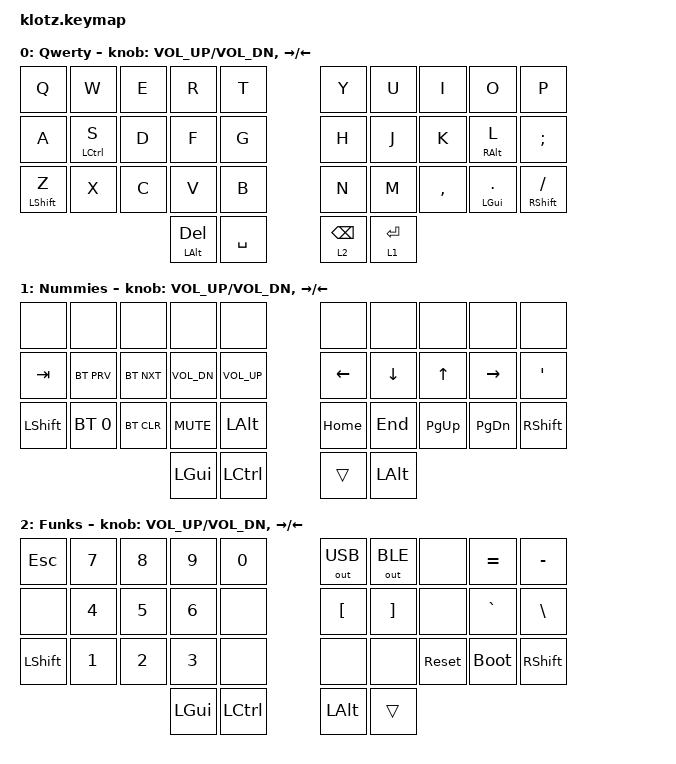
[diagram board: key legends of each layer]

//              █         ██        ▄▀▀▀▀▀▀▀▀▀▀█▀▀▀▀▀▀▀▀█▀▀▀▀▀▀▀▀▀▀█
//              █        █ █      ▄▀            ▀▄      █         █
//              █       █  █    ▄▀                ▀▄    █        █
//              █      █   █   █                    █   █       █
//              █     █    █   █                    █   █      █
//              █    █     █   █                    █   █  ▀▀▀█▀▀▀▀
//              █   █ █    █   █                    █   █    █
//              █  █   █   █   █                    █   █   █
//              █ █     █  █    ▀▄                ▄▀    █  █
//              ██       █ █      ▀▄            ▄▀      █ █
//              █         ██▄▄▄▄▄▄▄▄█▄▄▄▄▄▄▄▄▄▄▀        ██▄▄▄▄▄▄▄▄▄▄
//
//▄▄▄▄▄▄▄▄▄▄▄▄▄▄▄▄▄▄▄▄▄▄▄▄▄▄▄▄▄▄▄▄▄▄▄▄▄▄▄▄▄▄▄▄▄▄▄▄▄▄▄▄▄▄▄▄▄▄▄▄▄▄▄▄▄▄▄▄▄▄▄▄▄▄▄▄▄▄▄};



/* #include "base_5x3T2.h" */
#include <behaviors.dtsi>
#include <dt-bindings/zmk/keys.h>
#include <dt-bindings/zmk/bt.h>
#include <dt-bindings/zmk/outputs.h>

// makes it possible to hold backspace
&mt {
    tapping-term-ms = <200>;
};
&lt {
    quick_tap_ms = <120>;
};

/ {
	keymap {
		compatible = "zmk,keymap";
		
		default {
            label = "Qwerty";
//  _____________________________       _____________________________
// /  Q  |  W     |  E  |  R  |  T  \     /  Y  |  U  |  I  |  O   |  P  \
// |  A  | LCTRl/S|  D  |  F  |  G  | ___ |  H  |  J  |  K  |RALT/L|  ;  |
// |Sft/Z|  X     |  C  |  V  |  B  ||MUT||  N  |  M  |  ,  |LGUI/.|Sft//|
//         \LALT/Bspc|  Ctl/SPC  /     \  Sym/Del  | Num/Ent /
//          ---------------------       --------------------
			bindings = <
            &kp Q       &kp W        &kp E   &kp R   &kp T                   &kp Y   &kp U   &kp I       &kp O        &kp P
            &kp A       &mt LCTRL S  &kp D   &kp F   &kp G                   &kp H   &kp J   &kp K       &mt RALT L   &kp SEMI
            &mt LSHFT Z &kp X        &kp C   &kp V   &kp B                   &kp N   &kp M   &kp COMMA   &mt LGUI DOT &mt RSHFT FSLH
                                     &mt LALT DEL   &kp SPACE       		 &lt 2 BSPC       &lt 1 RET
			>;
		 sensor-bindings = <&inc_dec_kp C_VOL_UP C_VOL_DN &inc_dec_kp RIGHT LEFT>;
		};
		numbers {
            label = "Nummies";
//  _____________________________       _____________________________
// /     |     |     |     |     \     /     |     |     |     |     \
// | TAB |BTPRV|BTNXT| VOL-| VOL+| ___ |  <  |  v  |  ^  |  >  |  '  |
// | Sft |BTSL0|BTCLR| MUT | ALT ||CPS|| HOME| END | PGUP| PGDN| Sft |
//         \  LGUI   |    Ctl    /     \   Trns    |         /
//          ---------------------       --------------------
			bindings = <
            &none     &none        &none      &none        &none                  &none         &none          &none          &none         &none      
            &kp TAB   &bt BT_PRV   &bt BT_NXT &kp C_VOL_DN &kp C_VOL_UP           &kp LEFT      &kp DOWN       &kp UP         &kp RIGHT     &kp SQT
            &kp LSHFT &bt BT_SEL 0 &bt BT_CLR &kp C_MUTE   &kp LALT               &kp HOME      &kp END        &kp PG_UP      &kp PG_DN     &kp RSHFT
                                              &kp LGUI     &kp LCTRL              &trans        &kp LALT
			>;
		 sensor-bindings = <&inc_dec_kp C_VOL_UP C_VOL_DN &inc_dec_kp RIGHT LEFT>;

		};
		symbols {
            label = "Funks";
//  _____________________________       _____________________________
// / ESC |  7  |  8  |  9  |  0  \     / USB | BLE |     |  =  |  -  \
// |     |  4  |  5  |  6  |    | ___ |  [  |  ]   |     |  `  |  \  |
// | Sft |  1  |  2  |  3  |    ||   ||     |      |     | boot| Sft |
//         \  LAlt   |    Ctl    /     \           | Trns    /
//          ---------------------       --------------------
			bindings = <
            &kp ESC   &kp N7 &kp N8  &kp N9     &kp N0           &out OUT_USB &out OUT_BLE &none      &kp EQUAL   &kp MINUS
            &none     &kp N4 &kp N5  &kp N6    &none             &kp LBKT     &kp RBKT     &none      &kp GRAVE   &kp BSLH
            &kp LSHFT &kp N1 &kp N2  &kp N3  &none               &none        &none        &sys_reset &bootloader &kp RSHFT
                                     &kp LGUI &kp LCTRL          &kp LALT     &trans
			>;
		 sensor-bindings = <&inc_dec_kp C_VOL_UP C_VOL_DN &inc_dec_kp RIGHT LEFT>;

		};
	};
};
